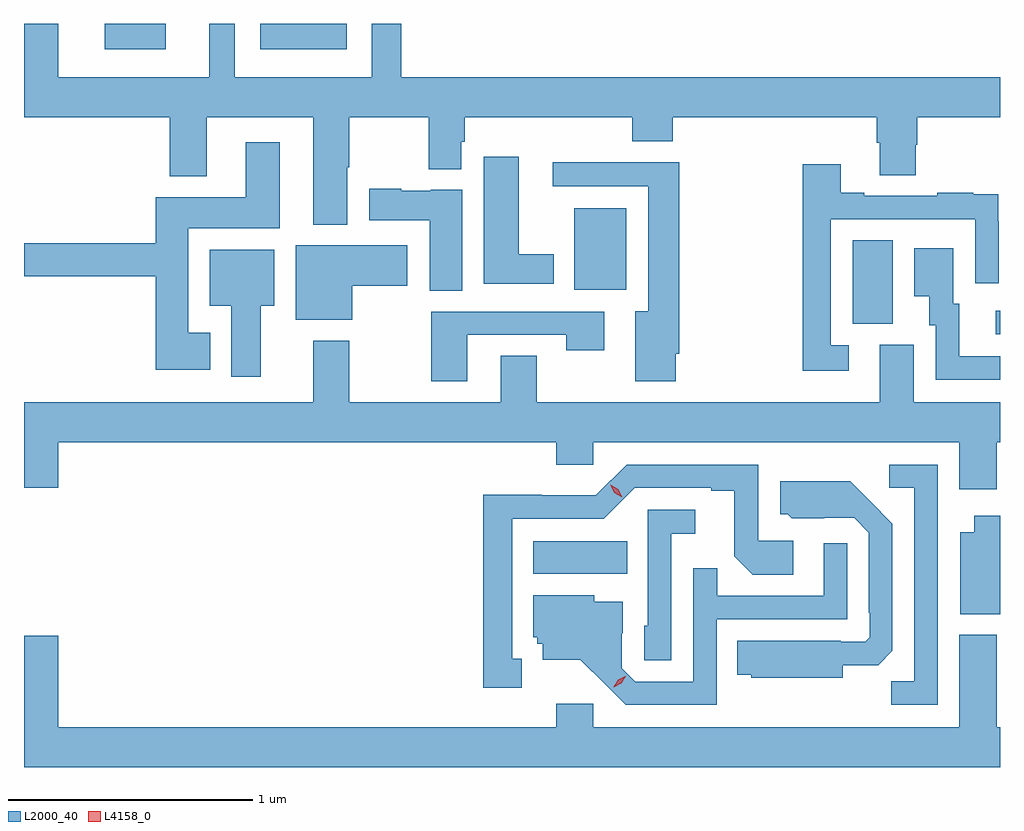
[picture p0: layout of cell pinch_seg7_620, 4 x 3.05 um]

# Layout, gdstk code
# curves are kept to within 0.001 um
import gdstk
lib = gdstk.Library(unit=1e-6, precision=1e-09)
def R(c, l, rs):  # rectangles x0, y0, x1, y1
    for r in rs: c.add(gdstk.rectangle(r[:2], r[2:], *l))
def P(c, l, *ps):  # polygons
    for p in ps: c.add(gdstk.Polygon(p, *l))
L2000_40 = (2000, 40)
L4158_0 = (4158, 0)

pinch_seg7_620 = lib.new_cell('pinch_seg7_620')
R(pinch_seg7_620, L2000_40, [(143.144,1021.388,143.528,1021.522), (145.038,1022.37,145.056,1022.466), (144.452,1022.413,144.616,1022.756), (143.312,1022.552,143.524,1022.887), (141.386,1023.539,141.637,1023.642), (142.025,1023.539,142.378,1023.642)])
P(pinch_seg7_620, L2000_40, [(142.381,1023.055),(142.389,1023.055),(142.389,1023.26),(142.714,1023.26),(142.714,1023.047),(142.849,1023.047),(142.849,1023.159),(142.862,1023.159),(142.862,1023.26),(143.549,1023.26),(143.549,1023.161),(143.714,1023.161),(143.714,1023.26),(144.551,1023.26),(144.551,1023.154),(144.563,1023.154),(144.563,1023.022),(144.711,1023.022),(144.711,1023.147),(144.716,1023.147),(144.716,1023.26),(145.056,1023.26),(145.056,1023.424),(142.603,1023.424),(142.603,1023.642),(142.481,1023.642),(142.481,1023.424),(141.919,1023.424),(141.919,1023.642),(141.815,1023.642),(141.815,1023.424),(141.196,1023.424),(141.196,1023.642),(141.056,1023.642),(141.056,1023.26),(141.653,1023.26),(141.653,1023.017),(141.805,1023.017),(141.805,1023.26),(142.241,1023.26),(142.241,1022.819),(142.381,1022.819)],
  [(141.82,1022.377),(141.73,1022.377),(141.73,1022.804),(142.105,1022.804),(142.105,1023.157),(141.965,1023.157),(141.965,1022.932),(141.596,1022.932),(141.596,1022.744),(141.056,1022.744),(141.056,1022.608),(141.596,1022.608),(141.596,1022.225),(141.82,1022.225)],
  [(143.227,1022.698),(143.083,1022.698),(143.083,1023.097),(142.94,1023.097),(142.94,1022.576),(143.227,1022.576)],
  [(143.728,1022.29),(143.741,1022.29),(143.741,1023.074),(143.223,1023.074),(143.223,1022.976),(143.615,1022.976),(143.615,1022.464),(143.561,1022.464),(143.561,1022.178),(143.728,1022.178)],
  [(144.436,1022.325),(144.363,1022.325),(144.363,1022.841),(144.954,1022.841),(144.954,1022.58),(145.05,1022.58),(145.05,1022.834),(145.049,1022.834),(145.049,1022.943),(144.947,1022.943),(144.947,1022.95),(144.799,1022.95),(144.799,1022.937),(144.499,1022.937),(144.499,1022.95),(144.403,1022.95),(144.403,1023.067),(144.247,1023.067),(144.247,1022.22),(144.436,1022.22)],
  [(142.852,1022.962),(142.722,1022.962),(142.722,1022.959),(142.602,1022.959),(142.602,1022.967),(142.47,1022.967),(142.47,1022.837),(142.718,1022.837),(142.718,1022.548),(142.852,1022.548)],
  [(142.402,1022.569),(142.627,1022.569),(142.627,1022.734),(142.169,1022.734),(142.169,1022.429),(142.402,1022.429)],
  [(145.056,1022.28),(144.889,1022.28),(144.889,1022.496),(144.865,1022.496),(144.865,1022.722),(144.704,1022.722),(144.704,1022.525),(144.767,1022.525),(144.767,1022.406),(144.792,1022.406),(144.792,1022.184),(145.056,1022.184)],
  [(142.027,1022.486),(142.081,1022.486),(142.081,1022.716),(141.818,1022.716),(141.818,1022.486),(141.905,1022.486),(141.905,1022.196),(142.027,1022.196)],
  [(142.873,1022.367),(143.278,1022.367),(143.278,1022.304),(143.434,1022.304),(143.434,1022.463),(142.726,1022.463),(142.726,1022.178),(142.873,1022.178)],
  [(145.043,1021.928),(145.056,1021.928),(145.056,1022.092),(144.703,1022.092),(144.703,1022.328),(144.563,1022.328),(144.563,1022.092),(143.157,1022.092),(143.157,1022.282),(143.009,1022.282),(143.009,1022.092),(142.389,1022.092),(142.389,1022.344),(142.241,1022.344),(142.241,1022.092),(141.056,1022.092),(141.056,1021.74),(141.196,1021.74),(141.196,1021.928),(143.237,1021.928),(143.237,1021.835),(143.388,1021.835),(143.388,1021.928),(144.89,1021.928),(144.89,1021.734),(145.043,1021.734)],
  [(143.095,1021.041),(143.056,1021.041),(143.056,1021.614),(143.433,1021.614),(143.559,1021.74),(143.873,1021.74),(143.873,1021.728),(143.967,1021.728),(143.967,1021.46),(144.043,1021.384),(144.208,1021.384),(144.208,1021.524),(144.066,1021.524),(144.066,1021.836),(143.526,1021.836),(143.4,1021.71),(143.178,1021.71),(143.178,1021.712),(142.938,1021.712),(142.938,1020.921),(143.095,1020.921)],
  [(144.801,1021.836),(144.603,1021.836),(144.603,1021.74),(144.705,1021.74),(144.705,1020.947),(144.61,1020.947),(144.61,1020.852),(144.801,1020.852)],
  [(144.412,1021.013),(144.556,1021.013),(144.615,1021.072),(144.615,1021.594),(144.443,1021.768),(144.155,1021.768),(144.155,1021.632),(144.186,1021.632),(144.202,1021.616),(144.459,1021.617),(144.519,1021.557),(144.519,1021.228),(144.522,1021.228),(144.522,1021.128),(144.504,1021.11),(144.404,1021.11),(144.404,1021.114),(143.98,1021.114),(143.98,1020.974),(144.036,1020.974),(144.036,1020.962),(144.412,1020.962)],
  [(143.709,1021.553),(143.806,1021.553),(143.806,1021.65),(143.613,1021.65),(143.613,1021.176),(143.598,1021.176),(143.598,1021.033),(143.709,1021.033)],
  [(145.056,1021.627),(144.95,1021.627),(144.95,1021.558),(144.893,1021.558),(144.893,1021.223),(145.056,1021.223)],
  [(143.895,1021.203),(144.429,1021.203),(144.429,1021.513),(144.333,1021.513),(144.333,1021.299),(143.897,1021.299),(143.897,1021.412),(143.799,1021.412),(143.799,1020.945),(143.562,1020.945),(143.505,1021.002),(143.505,1021.144),(143.509,1021.144),(143.509,1021.273),(143.394,1021.273),(143.394,1021.3),(143.144,1021.3),(143.144,1021.128),(143.16,1021.128),(143.16,1021.101),(143.183,1021.101),(143.183,1021.037),(143.335,1021.037),(143.522,1020.852),(143.895,1020.852)],
  [(145.056,1020.76),(145.043,1020.76),(145.043,1021.138),(144.89,1021.138),(144.89,1020.76),(143.388,1020.76),(143.388,1020.856),(143.237,1020.856),(143.237,1020.76),(141.196,1020.76),(141.196,1021.135),(141.056,1021.135),(141.056,1020.596),(145.056,1020.596)])
P(pinch_seg7_620, L4158_0, [(143.473,1020.924),(143.473,1020.925),(143.491,1020.954),(143.521,1020.969),(143.522,1020.969),(143.522,1020.968),(143.504,1020.939),(143.473,1020.924)],
  [(143.508,1021.702),(143.476,1021.721),(143.459,1021.754),(143.459,1021.754),(143.459,1021.754),(143.491,1021.735),(143.508,1021.703),(143.508,1021.702)])

lib.write_gds('pinch_seg7_620.gds')
